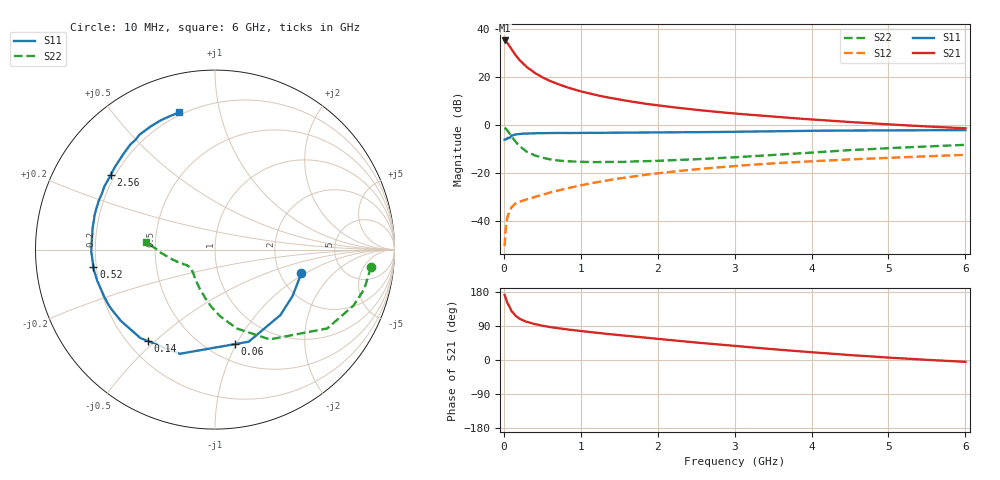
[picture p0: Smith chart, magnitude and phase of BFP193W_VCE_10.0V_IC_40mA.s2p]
! Infineon Technologies  Discrete & RF Semiconductors
! BFP193W
! VCE = 10.0V,  IC =  40 mA
! Common Emitter S-Parameters:  Jan 2016
# GHz  S  MA  R  50
!  f  S11  S21  S12  S22
! GHz  MAG  ANG  MAG  ANG  MAG  ANG  MAG  ANG
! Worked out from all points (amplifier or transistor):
!   210 points, 10 MHz to 6 GHz, reference 50 ohm
!   highest |S21| = 35.4 dB at 10 MHz (marker M1)
!   |S21| within 3 dB of that: start of sweep to 85.76 MHz
!   unconditionally stable (mu >= 1): 795.8 MHz to 5.073 GHz
!   at 185 MHz: K = 0.46, MSG = 30.1 dB, |S12| = -32.2 dB
!   at 1.52 GHz: K = 1.10, MAG = 14.4 dB, |S12| = -22.1 dB
!   at 6 GHz: K = 0.96, MSG = 5.5 dB, |S12| = -12.4 dB
!   S11 on the Smith chart (normalised r, x): 10 MHz: 2.63, -0.92; 60 MHz: 0.67, -0.99; 140 MHz: 0.28, -0.48; 520 MHz: 0.19, -0.07; 2.56 GHz: 0.18, +0.31; 6 GHz: 0.19, +0.75
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0.01  0.4991 -15.2  58.57 171.6  0.003 70.7  0.8749 -6.3
0.02  0.5037 -30.9  57.61 166.1  0.0058 68.9  0.8599 -14.9
0.03  0.5155 -45.0  55.82 159.9  0.0082 69.7  0.8321 -22.0
0.05  0.5464 -69.9  50.94 148.6  0.0127 61.5  0.7639 -35.1
0.06  0.5382 -78.1  48.07 145.5  0.014 58.2  0.72 -38.8
0.1  0.6129 -108.7  38.47 128.9  0.0194 49.5  0.5857 -58.7
0.14  0.6314 -126.1  31.06 119.8  0.0224 44.6  0.4783 -70.8
0.15  0.6447 -130.2  29.37 116.8  0.0232 43.6  0.4557 -74.6
0.2  0.6576 -142.8  23.23 109.4  0.0251 42.9  0.373 -85.5
0.26  0.6682 -152.4  18.59 103.6  0.0272 42.6  0.3114 -94.9
0.3  0.6708 -157.0  16.19 100.5  0.0285 43.5  0.2793 -100.6
0.4  0.6789 -165.3  12.39 94.7  0.0318 45.6  0.2353 -111.0
0.52  0.6846 -171.8  9.676 89.8  0.0362 49.2  0.207 -120.1
0.7  0.6895 -178.9  7.244 84.1  0.043 52.8  0.184 -129.7
1.02  0.6894 172.6  4.993 76.1  0.0565 56.6  0.1724 -139.5
1.4  0.6976 164.5  3.668 67.6  0.0733 57.7  0.1722 -145.7
2.02  0.7035 153.4  2.572 55.2  0.1002 56.2  0.1815 -151.2
2.56  0.7144 144.4  2.046 45.1  0.123 53.2  0.1969 -156.5
3.1  0.7317 135.9  1.702 35.6  0.1447 49.7  0.2192 -161.9
4.1  0.7669 122.2  1.286 19.0  0.1807 42.5  0.275 -172.8
5.1  0.7818 111.9  1.019 5.2  0.2121 35.9  0.3379 178.2
6  0.7899 104.7  0.863 -4.9  0.2411 30.8  0.3893 173.4
